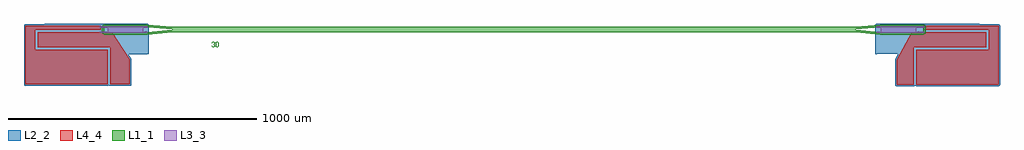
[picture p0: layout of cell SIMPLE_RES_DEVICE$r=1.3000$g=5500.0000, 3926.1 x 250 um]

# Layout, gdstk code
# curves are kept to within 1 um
import gdstk
lib = gdstk.Library(unit=1e-6, precision=1e-10)
def P(c, l, *ps):  # polygons
    for p in ps: c.add(gdstk.Polygon(p, *l))
L1_1 = (1, 1)
L2_2 = (2, 2)
L3_3 = (3, 3)
L4_4 = (4, 4)

simple_res_device_r_1_30 = lib.new_cell('SIMPLE_RES_DEVICE$r=1.3000$g=5500.0000')
P(simple_res_device_r_1_30, L1_1, [(-5830.848,-15.25),(-5837.1919,-12.9801),(-5840.6559,-7.2009),(-5840.6559,16.7009),(-5837.9191,21.8211),(-5832.7989,24.5579),(-5658.048,24.75),(-5557.579,15.35),(-4183.4,15.35),(-4183.4,5.35),(-5558.048,5.35),(-5658.048,14.75),(-5830.848,14.75),(-5830.848,-5.25),(-5658.048,-5.25),(-5558.048,4.15),(-4183.4,4.15),(-4183.4,-5.85),(-5557.579,-5.85),(-5658.048,-15.25)],
  [(-2708.752,-15.25),(-2809.221,-5.85),(-4183.4,-5.85),(-4183.4,4.15),(-2808.752,4.15),(-2708.752,-5.25),(-2535.952,-5.25),(-2535.952,14.75),(-2708.752,14.75),(-2808.752,5.35),(-4183.4,5.35),(-4183.4,15.35),(-2809.221,15.35),(-2708.752,24.75),(-2535.952,24.75),(-2529.6081,22.4801),(-2526.3826,17.6528),(-2525.952,-5.25),(-2528.8809,-12.3211),(-2532.1252,-14.4888)],
  [(-5377.627,-65.526),(-5380.173,-65.17),(-5381.367,-64.618),(-5382.189,-63.886),(-5382.773,-62.846),(-5382.939,-62),(-5382.939,-48.476),(-5382.647,-47.312),(-5382.109,-46.468),(-5381.263,-45.76),(-5380.071,-45.246),(-5377.627,-44.922),(-5377.627,-46.322),(-5379.453,-46.548),(-5380.417,-46.976),(-5381.185,-47.732),(-5381.453,-48.716),(-5381.453,-62.03),(-5380.695,-63.368),(-5379.793,-63.866),(-5377.627,-64.214)],
  [(-5376.695,-65.526),(-5376.695,-64.214),(-5374.939,-64),(-5373.951,-63.6),(-5373.113,-62.794),(-5372.869,-61.8),(-5372.869,-48.534),(-5373.581,-47.196),(-5374.449,-46.698),(-5376.695,-46.322),(-5376.695,-44.922),(-5374.251,-45.246),(-5373.059,-45.76),(-5372.205,-46.468),(-5371.573,-47.536),(-5371.383,-48.716),(-5371.383,-62),(-5371.635,-63.058),(-5372.307,-64.082),(-5373.225,-64.77),(-5375.295,-65.432)],
  [(-5393.238,-65.548),(-5395.696,-65.138),(-5396.716,-64.69),(-5397.65,-63.934),(-5398.226,-62.864),(-5398.4,-60.466),(-5396.836,-60.466),(-5396.574,-62.708),(-5395.808,-63.494),(-5394.654,-63.962),(-5393.356,-64.168),(-5391.04,-64.062),(-5389.934,-63.71),(-5389.01,-63.09),(-5388.338,-62.16),(-5388.338,-57.766),(-5388.566,-56.756),(-5389.182,-55.94),(-5390.06,-55.438),(-5391.278,-55.188),(-5395.554,-55.188),(-5395.554,-53.828),(-5391.57,-53.828),(-5390.55,-53.672),(-5389.562,-53.186),(-5388.82,-52.34),(-5388.526,-51.346),(-5388.654,-48.066),(-5389.23,-47.168),(-5390.148,-46.604),(-5391.198,-46.316),(-5393.334,-46.24),(-5395.65,-46.89),(-5396.416,-47.658),(-5396.692,-48.692),(-5396.692,-49.89),(-5398.258,-49.89),(-5398.258,-48.692),(-5398.108,-47.554),(-5397.586,-46.488),(-5396.7,-45.718),(-5394.344,-44.946),(-5391.926,-44.832),(-5389.484,-45.228),(-5388.496,-45.672),(-5387.61,-46.432),(-5387.104,-47.556),(-5387.072,-52.2),(-5387.476,-53.258),(-5388.218,-54.016),(-5389.206,-54.416),(-5387.348,-55.754),(-5386.906,-56.678),(-5386.78,-61.746),(-5386.954,-62.86),(-5387.53,-63.91),(-5388.464,-64.67),(-5390.842,-65.434)])
P(simple_res_device_r_1_30, L2_2, [(-2643.952,-222.5),(-2647.7584,-221.1381),(-2649.9231,-217.0881),(-2649.952,-116.5),(-2638.8806,-94.5),(-2723.952,-94.5),(-2728.9408,-91.8334),(-2729.952,21.5),(-2726.7804,26.7915),(-2313.952,27.5),(-2309.4894,25.5),(-2233.3639,25.4711),(-2228.6605,22.3284),(-2227.952,-216.5),(-2231.1236,-221.7915),(-2563.952,-222.5),(-2568.952,-219.8148),(-2573.952,-222.5)],
  [(-6148.048,-221.5),(-6152.2906,-219.7426),(-6154.048,-215.5),(-6154.048,19.5),(-6150.8764,24.7915),(-6072.5106,25.5),(-6068.048,27.5),(-5658.048,27.5),(-5652.7565,24.3284),(-5652.048,-88.5),(-5653.0592,-91.8334),(-5658.048,-94.5),(-5734.2998,-94.5),(-5722.0747,-114.9341),(-5722.048,-215.5),(-5725.2196,-220.7915),(-5808.048,-221.5),(-5813.048,-218.8148),(-5818.048,-221.5)])
P(simple_res_device_r_1_30, L3_3, [(-2723.952,-8),(-2723.952,-3),(-2708.197,-3),(-2708.197,11.75),(-2707.752,11.75),(-2707.752,-3),(-2707.752,-3),(-2706.397,-3),(-2706.397,11.75),(-2705.952,11.75),(-2705.952,-3),(-2704.597,-3),(-2704.597,11.75),(-2704.152,11.75),(-2704.152,-3),(-2702.797,-3),(-2702.797,11.75),(-2702.352,11.75),(-2702.352,-3),(-2700.997,-3),(-2700.997,11.75),(-2700.552,11.75),(-2700.552,-3),(-2699.197,-3),(-2699.197,11.75),(-2698.752,11.75),(-2698.752,-3),(-2697.397,-3),(-2697.397,11.75),(-2696.952,11.75),(-2696.952,-3),(-2695.597,-3),(-2695.597,11.75),(-2695.152,11.75),(-2695.152,-3),(-2693.797,-3),(-2693.797,11.75),(-2693.352,11.75),(-2693.352,-3),(-2691.997,-3),(-2691.997,11.75),(-2691.552,11.75),(-2691.552,-3),(-2690.197,-3),(-2690.197,11.75),(-2689.752,11.75),(-2689.752,-3),(-2688.397,-3),(-2688.397,11.75),(-2687.952,11.75),(-2687.952,-3),(-2686.597,-3),(-2686.597,11.75),(-2686.152,11.75),(-2686.152,-3),(-2684.797,-3),(-2684.797,11.75),(-2684.352,11.75),(-2684.352,-3),(-2682.997,-3),(-2682.997,11.75),(-2682.552,11.75),(-2682.552,-3),(-2681.197,-3),(-2681.197,11.75),(-2680.752,11.75),(-2680.752,-3),(-2679.397,-3),(-2679.397,11.75),(-2678.952,11.75),(-2678.952,-3),(-2677.597,-3),(-2677.597,11.75),(-2677.152,11.75),(-2677.152,-3),(-2675.797,-3),(-2675.797,11.75),(-2675.352,11.75),(-2675.352,-3),(-2673.997,-3),(-2673.997,11.75),(-2673.552,11.75),(-2673.552,-3),(-2672.197,-3),(-2672.197,11.75),(-2671.752,11.75),(-2671.752,-3),(-2670.397,-3),(-2670.397,11.75),(-2669.952,11.75),(-2669.952,-3),(-2668.597,-3),(-2668.597,11.75),(-2668.152,11.75),(-2668.152,-3),(-2666.797,-3),(-2666.797,11.75),(-2666.352,11.75),(-2666.352,-3),(-2664.997,-3),(-2664.997,11.75),(-2664.552,11.75),(-2664.552,-3),(-2663.197,-3),(-2663.197,11.75),(-2662.752,11.75),(-2662.752,-3),(-2661.397,-3),(-2661.397,11.75),(-2660.952,11.75),(-2660.952,-3),(-2659.597,-3),(-2659.597,11.75),(-2659.152,11.75),(-2659.152,-3),(-2657.797,-3),(-2657.797,11.75),(-2657.352,11.75),(-2657.352,-3),(-2655.997,-3),(-2655.997,11.75),(-2655.552,11.75),(-2655.552,-3),(-2654.197,-3),(-2654.197,11.75),(-2653.752,11.75),(-2653.752,-3),(-2652.397,-3),(-2652.397,11.75),(-2651.952,11.75),(-2651.952,-3),(-2650.597,-3),(-2650.597,11.75),(-2650.152,11.75),(-2650.152,-3),(-2648.797,-3),(-2648.797,11.75),(-2648.352,11.75),(-2648.352,-3),(-2646.997,-3),(-2646.997,11.75),(-2646.552,11.75),(-2646.552,-3),(-2645.197,-3),(-2645.197,11.75),(-2644.752,11.75),(-2644.752,-3),(-2643.397,-3),(-2643.397,11.75),(-2642.952,11.75),(-2642.952,-3),(-2641.597,-3),(-2641.597,11.75),(-2641.152,11.75),(-2641.152,-3),(-2639.797,-3),(-2639.797,11.75),(-2639.352,11.75),(-2639.352,-3),(-2637.997,-3),(-2637.997,11.75),(-2637.552,11.75),(-2637.552,-3),(-2636.197,-3),(-2636.197,11.75),(-2635.752,11.75),(-2635.752,-3),(-2634.397,-3),(-2634.397,11.75),(-2633.952,11.75),(-2633.952,-3),(-2632.597,-3),(-2632.597,11.75),(-2632.152,11.75),(-2632.152,-3),(-2630.797,-3),(-2630.797,11.75),(-2630.352,11.75),(-2630.352,-3),(-2628.997,-3),(-2628.997,11.75),(-2628.552,11.75),(-2628.552,-3),(-2627.197,-3),(-2627.197,11.75),(-2626.752,11.75),(-2626.752,-3),(-2625.397,-3),(-2625.397,11.75),(-2624.952,11.75),(-2624.952,-3),(-2623.597,-3),(-2623.597,11.75),(-2623.152,11.75),(-2623.152,-3),(-2621.797,-3),(-2621.797,11.75),(-2621.352,11.75),(-2621.352,-3),(-2619.997,-3),(-2619.997,11.75),(-2619.552,11.75),(-2619.552,-3),(-2618.197,-3),(-2618.197,11.75),(-2617.752,11.75),(-2617.752,-3),(-2616.397,-3),(-2616.397,11.75),(-2615.952,11.75),(-2615.952,-3),(-2614.597,-3),(-2614.597,11.75),(-2614.152,11.75),(-2614.152,-3),(-2612.797,-3),(-2612.797,11.75),(-2612.352,11.75),(-2612.352,-3),(-2610.997,-3),(-2610.997,11.75),(-2610.552,11.75),(-2610.552,-3),(-2609.197,-3),(-2609.197,11.75),(-2608.752,11.75),(-2608.752,-3),(-2607.397,-3),(-2607.397,11.75),(-2606.952,11.75),(-2606.952,-3),(-2605.597,-3),(-2605.597,11.75),(-2605.152,11.75),(-2605.152,-3),(-2603.797,-3),(-2603.797,11.75),(-2603.352,11.75),(-2603.352,-3),(-2601.997,-3),(-2601.997,11.75),(-2601.552,11.75),(-2601.552,-3),(-2600.197,-3),(-2600.197,11.75),(-2599.752,11.75),(-2599.752,-3),(-2598.397,-3),(-2598.397,11.75),(-2597.952,11.75),(-2597.952,-3),(-2596.597,-3),(-2596.597,11.75),(-2596.152,11.75),(-2596.152,-3),(-2594.797,-3),(-2594.797,11.75),(-2594.352,11.75),(-2594.352,-3),(-2592.997,-3),(-2592.997,11.75),(-2592.552,11.75),(-2592.552,-3),(-2591.197,-3),(-2591.197,11.75),(-2590.752,11.75),(-2590.752,-3),(-2589.397,-3),(-2589.397,11.75),(-2588.952,11.75),(-2588.952,-3),(-2587.597,-3),(-2587.597,11.75),(-2587.152,11.75),(-2587.152,-3),(-2585.797,-3),(-2585.797,11.75),(-2585.352,11.75),(-2585.352,-3),(-2583.997,-3),(-2583.997,11.75),(-2583.552,11.75),(-2583.552,-3),(-2582.197,-3),(-2582.197,11.75),(-2581.752,11.75),(-2581.752,-3),(-2580.397,-3),(-2580.397,11.75),(-2579.952,11.75),(-2579.952,-3),(-2578.597,-3),(-2578.597,11.75),(-2578.152,11.75),(-2578.152,-3),(-2576.797,-3),(-2576.797,11.75),(-2576.352,11.75),(-2576.352,-3),(-2574.997,-3),(-2574.997,11.75),(-2574.552,11.75),(-2574.552,-3),(-2573.197,-3),(-2573.197,11.75),(-2572.752,11.75),(-2572.752,-3),(-2571.397,-3),(-2571.397,11.75),(-2570.952,11.75),(-2570.952,-3),(-2569.597,-3),(-2569.597,11.75),(-2569.152,11.75),(-2569.152,-3),(-2567.797,-3),(-2567.797,11.75),(-2567.352,11.75),(-2567.352,-3),(-2565.997,-3),(-2565.997,11.75),(-2565.552,11.75),(-2565.552,-3),(-2531.952,-3),(-2531.952,-8)],
  [(-2707.297,-2.25),(-2707.297,12.5),(-2723.952,12.5),(-2723.952,17.5),(-2531.952,17.5),(-2531.952,12.5),(-2564.652,12.5),(-2564.652,-2.25),(-2565.097,-2.25),(-2565.097,12.5),(-2566.452,12.5),(-2566.452,-2.25),(-2566.897,-2.25),(-2566.897,12.5),(-2568.252,12.5),(-2568.252,-2.25),(-2568.697,-2.25),(-2568.697,12.5),(-2570.052,12.5),(-2570.052,-2.25),(-2570.497,-2.25),(-2570.497,12.5),(-2571.852,12.5),(-2571.852,-2.25),(-2572.297,-2.25),(-2572.297,12.5),(-2573.652,12.5),(-2573.652,-2.25),(-2574.097,-2.25),(-2574.097,12.5),(-2575.452,12.5),(-2575.452,-2.25),(-2575.897,-2.25),(-2575.897,12.5),(-2577.252,12.5),(-2577.252,-2.25),(-2577.697,-2.25),(-2577.697,12.5),(-2579.052,12.5),(-2579.052,-2.25),(-2579.497,-2.25),(-2579.497,12.5),(-2580.852,12.5),(-2580.852,-2.25),(-2581.297,-2.25),(-2581.297,12.5),(-2582.652,12.5),(-2582.652,-2.25),(-2583.097,-2.25),(-2583.097,12.5),(-2584.452,12.5),(-2584.452,-2.25),(-2584.897,-2.25),(-2584.897,12.5),(-2586.252,12.5),(-2586.252,-2.25),(-2586.697,-2.25),(-2586.697,12.5),(-2588.052,12.5),(-2588.052,-2.25),(-2588.497,-2.25),(-2588.497,12.5),(-2589.852,12.5),(-2589.852,-2.25),(-2590.297,-2.25),(-2590.297,12.5),(-2591.652,12.5),(-2591.652,-2.25),(-2592.097,-2.25),(-2592.097,12.5),(-2593.452,12.5),(-2593.452,-2.25),(-2593.897,-2.25),(-2593.897,12.5),(-2595.252,12.5),(-2595.252,-2.25),(-2595.697,-2.25),(-2595.697,12.5),(-2597.052,12.5),(-2597.052,-2.25),(-2597.497,-2.25),(-2597.497,12.5),(-2598.852,12.5),(-2598.852,-2.25),(-2599.297,-2.25),(-2599.297,12.5),(-2600.652,12.5),(-2600.652,-2.25),(-2601.097,-2.25),(-2601.097,12.5),(-2602.452,12.5),(-2602.452,-2.25),(-2602.897,-2.25),(-2602.897,12.5),(-2604.252,12.5),(-2604.252,-2.25),(-2604.697,-2.25),(-2604.697,12.5),(-2606.052,12.5),(-2606.052,-2.25),(-2606.497,-2.25),(-2606.497,12.5),(-2607.852,12.5),(-2607.852,-2.25),(-2608.297,-2.25),(-2608.297,12.5),(-2609.652,12.5),(-2609.652,-2.25),(-2610.097,-2.25),(-2610.097,12.5),(-2611.452,12.5),(-2611.452,-2.25),(-2611.897,-2.25),(-2611.897,12.5),(-2613.252,12.5),(-2613.252,-2.25),(-2613.697,-2.25),(-2613.697,12.5),(-2615.052,12.5),(-2615.052,-2.25),(-2615.497,-2.25),(-2615.497,12.5),(-2616.852,12.5),(-2616.852,-2.25),(-2617.297,-2.25),(-2617.297,12.5),(-2618.652,12.5),(-2618.652,-2.25),(-2619.097,-2.25),(-2619.097,12.5),(-2620.452,12.5),(-2620.452,-2.25),(-2620.897,-2.25),(-2620.897,12.5),(-2622.252,12.5),(-2622.252,-2.25),(-2622.697,-2.25),(-2622.697,12.5),(-2624.052,12.5),(-2624.052,-2.25),(-2624.497,-2.25),(-2624.497,12.5),(-2625.852,12.5),(-2625.852,-2.25),(-2626.297,-2.25),(-2626.297,12.5),(-2627.652,12.5),(-2627.652,-2.25),(-2628.097,-2.25),(-2628.097,12.5),(-2629.452,12.5),(-2629.452,-2.25),(-2629.897,-2.25),(-2629.897,12.5),(-2631.252,12.5),(-2631.252,-2.25),(-2631.697,-2.25),(-2631.697,12.5),(-2633.052,12.5),(-2633.052,-2.25),(-2633.497,-2.25),(-2633.497,12.5),(-2634.852,12.5),(-2634.852,-2.25),(-2635.297,-2.25),(-2635.297,12.5),(-2636.652,12.5),(-2636.652,-2.25),(-2637.097,-2.25),(-2637.097,12.5),(-2638.452,12.5),(-2638.452,-2.25),(-2638.897,-2.25),(-2638.897,12.5),(-2640.252,12.5),(-2640.252,-2.25),(-2640.697,-2.25),(-2640.697,12.5),(-2642.052,12.5),(-2642.052,-2.25),(-2642.497,-2.25),(-2642.497,12.5),(-2643.852,12.5),(-2643.852,-2.25),(-2644.297,-2.25),(-2644.297,12.5),(-2645.652,12.5),(-2645.652,-2.25),(-2646.097,-2.25),(-2646.097,12.5),(-2647.452,12.5),(-2647.452,-2.25),(-2647.897,-2.25),(-2647.897,12.5),(-2649.252,12.5),(-2649.252,-2.25),(-2649.697,-2.25),(-2649.697,12.5),(-2651.052,12.5),(-2651.052,-2.25),(-2651.497,-2.25),(-2651.497,12.5),(-2652.852,12.5),(-2652.852,-2.25),(-2653.297,-2.25),(-2653.297,12.5),(-2654.652,12.5),(-2654.652,-2.25),(-2655.097,-2.25),(-2655.097,12.5),(-2656.452,12.5),(-2656.452,-2.25),(-2656.897,-2.25),(-2656.897,12.5),(-2658.252,12.5),(-2658.252,-2.25),(-2658.697,-2.25),(-2658.697,12.5),(-2660.052,12.5),(-2660.052,-2.25),(-2660.497,-2.25),(-2660.497,12.5),(-2661.852,12.5),(-2661.852,-2.25),(-2662.297,-2.25),(-2662.297,12.5),(-2663.652,12.5),(-2663.652,-2.25),(-2664.097,-2.25),(-2664.097,12.5),(-2665.452,12.5),(-2665.452,-2.25),(-2665.897,-2.25),(-2665.897,12.5),(-2667.252,12.5),(-2667.252,-2.25),(-2667.697,-2.25),(-2667.697,12.5),(-2669.052,12.5),(-2669.052,-2.25),(-2669.497,-2.25),(-2669.497,12.5),(-2670.852,12.5),(-2670.852,-2.25),(-2671.297,-2.25),(-2671.297,12.5),(-2672.652,12.5),(-2672.652,-2.25),(-2673.097,-2.25),(-2673.097,12.5),(-2674.452,12.5),(-2674.452,-2.25),(-2674.897,-2.25),(-2674.897,12.5),(-2676.252,12.5),(-2676.252,-2.25),(-2676.697,-2.25),(-2676.697,12.5),(-2678.052,12.5),(-2678.052,-2.25),(-2678.497,-2.25),(-2678.497,12.5),(-2679.852,12.5),(-2679.852,-2.25),(-2680.297,-2.25),(-2680.297,12.5),(-2681.652,12.5),(-2681.652,-2.25),(-2682.097,-2.25),(-2682.097,12.5),(-2683.452,12.5),(-2683.452,-2.25),(-2683.897,-2.25),(-2683.897,12.5),(-2685.252,12.5),(-2685.252,-2.25),(-2685.697,-2.25),(-2685.697,12.5),(-2687.052,12.5),(-2687.052,-2.25),(-2687.497,-2.25),(-2687.497,12.5),(-2688.852,12.5),(-2688.852,-2.25),(-2689.297,-2.25),(-2689.297,12.5),(-2690.652,12.5),(-2690.652,-2.25),(-2691.097,-2.25),(-2691.097,12.5),(-2692.452,12.5),(-2692.452,-2.25),(-2692.897,-2.25),(-2692.897,-2.25),(-2692.897,12.5),(-2694.252,12.5),(-2694.252,-2.25),(-2694.697,-2.25),(-2694.697,12.5),(-2696.052,12.5),(-2696.052,-2.25),(-2696.497,-2.25),(-2696.497,12.5),(-2697.852,12.5),(-2697.852,-2.25),(-2698.297,-2.25),(-2698.297,12.5),(-2699.652,12.5),(-2699.652,-2.25),(-2700.097,-2.25),(-2700.097,12.5),(-2701.452,12.5),(-2701.452,-2.25),(-2701.897,-2.25),(-2701.897,12.5),(-2703.252,12.5),(-2703.252,-2.25),(-2703.697,-2.25),(-2703.697,12.5),(-2705.052,12.5),(-2705.052,-2.25),(-2705.497,-2.25),(-2705.497,12.5),(-2706.852,12.5),(-2706.852,-2.25)],
  [(-5850.048,-8),(-5850.048,-3),(-5816.448,-3),(-5816.448,11.75),(-5816.003,11.75),(-5816.003,-3),(-5814.648,-3),(-5814.648,11.75),(-5814.203,11.75),(-5814.203,-3),(-5812.848,-3),(-5812.848,11.75),(-5812.403,11.75),(-5812.403,-3),(-5811.048,-3),(-5811.048,11.75),(-5810.603,11.75),(-5810.603,-3),(-5809.248,-3),(-5809.248,11.75),(-5808.803,11.75),(-5808.803,-3),(-5807.448,-3),(-5807.448,11.75),(-5807.003,11.75),(-5807.003,-3),(-5805.648,-3),(-5805.648,11.75),(-5805.203,11.75),(-5805.203,-3),(-5803.848,-3),(-5803.848,11.75),(-5803.403,11.75),(-5803.403,-3),(-5802.048,-3),(-5802.048,11.75),(-5801.603,11.75),(-5801.603,-3),(-5800.248,-3),(-5800.248,11.75),(-5799.803,11.75),(-5799.803,-3),(-5798.448,-3),(-5798.448,11.75),(-5798.003,11.75),(-5798.003,-3),(-5796.648,-3),(-5796.648,11.75),(-5796.203,11.75),(-5796.203,-3),(-5794.848,-3),(-5794.848,11.75),(-5794.403,11.75),(-5794.403,11.75),(-5794.403,-3),(-5793.048,-3),(-5793.048,11.75),(-5792.603,11.75),(-5792.603,-3),(-5791.248,-3),(-5791.248,11.75),(-5790.803,11.75),(-5790.803,-3),(-5789.448,-3),(-5789.448,11.75),(-5789.003,11.75),(-5789.003,-3),(-5787.648,-3),(-5787.648,11.75),(-5787.203,11.75),(-5787.203,-3),(-5785.848,-3),(-5785.848,11.75),(-5785.403,11.75),(-5785.403,-3),(-5784.048,-3),(-5784.048,11.75),(-5783.603,11.75),(-5783.603,-3),(-5782.248,-3),(-5782.248,11.75),(-5781.803,11.75),(-5781.803,-3),(-5780.448,-3),(-5780.448,11.75),(-5780.003,11.75),(-5780.003,-3),(-5778.648,-3),(-5778.648,11.75),(-5778.203,11.75),(-5778.203,-3),(-5776.848,-3),(-5776.848,11.75),(-5776.403,11.75),(-5776.403,-3),(-5775.048,-3),(-5775.048,11.75),(-5774.603,11.75),(-5774.603,-3),(-5773.248,-3),(-5773.248,11.75),(-5772.803,11.75),(-5772.803,-3),(-5771.448,-3),(-5771.448,11.75),(-5771.003,11.75),(-5771.003,-3),(-5769.648,-3),(-5769.648,11.75),(-5769.203,11.75),(-5769.203,-3),(-5767.848,-3),(-5767.848,11.75),(-5767.403,11.75),(-5767.403,-3),(-5766.048,-3),(-5766.048,11.75),(-5765.603,11.75),(-5765.603,-3),(-5764.248,-3),(-5764.248,11.75),(-5763.803,11.75),(-5763.803,-3),(-5762.448,-3),(-5762.448,11.75),(-5762.003,11.75),(-5762.003,-3),(-5760.648,-3),(-5760.648,11.75),(-5760.203,11.75),(-5760.203,-3),(-5758.848,-3),(-5758.848,11.75),(-5758.403,11.75),(-5758.403,-3),(-5757.048,-3),(-5757.048,11.75),(-5756.603,11.75),(-5756.603,-3),(-5755.248,-3),(-5755.248,11.75),(-5754.803,11.75),(-5754.803,-3),(-5753.448,-3),(-5753.448,11.75),(-5753.003,11.75),(-5753.003,-3),(-5751.648,-3),(-5751.648,11.75),(-5751.203,11.75),(-5751.203,-3),(-5749.848,-3),(-5749.848,11.75),(-5749.403,11.75),(-5749.403,-3),(-5748.048,-3),(-5748.048,11.75),(-5747.603,11.75),(-5747.603,-3),(-5746.248,-3),(-5746.248,11.75),(-5745.803,11.75),(-5745.803,-3),(-5744.448,-3),(-5744.448,11.75),(-5744.003,11.75),(-5744.003,-3),(-5742.648,-3),(-5742.648,11.75),(-5742.203,11.75),(-5742.203,-3),(-5740.848,-3),(-5740.848,11.75),(-5740.403,11.75),(-5740.403,-3),(-5739.048,-3),(-5739.048,11.75),(-5738.603,11.75),(-5738.603,-3),(-5737.248,-3),(-5737.248,11.75),(-5736.803,11.75),(-5736.803,-3),(-5735.448,-3),(-5735.448,11.75),(-5735.003,11.75),(-5735.003,-3),(-5733.648,-3),(-5733.648,11.75),(-5733.203,11.75),(-5733.203,-3),(-5731.848,-3),(-5731.848,11.75),(-5731.403,11.75),(-5731.403,-3),(-5730.048,-3),(-5730.048,11.75),(-5729.603,11.75),(-5729.603,-3),(-5728.248,-3),(-5728.248,11.75),(-5727.803,11.75),(-5727.803,-3),(-5726.448,-3),(-5726.448,11.75),(-5726.003,11.75),(-5726.003,-3),(-5724.648,-3),(-5724.648,11.75),(-5724.203,11.75),(-5724.203,-3),(-5722.848,-3),(-5722.848,11.75),(-5722.403,11.75),(-5722.403,-3),(-5721.048,-3),(-5721.048,11.75),(-5720.603,11.75),(-5720.603,-3),(-5719.248,-3),(-5719.248,11.75),(-5718.803,11.75),(-5718.803,-3),(-5717.448,-3),(-5717.448,11.75),(-5717.003,11.75),(-5717.003,-3),(-5715.648,-3),(-5715.648,11.75),(-5715.203,11.75),(-5715.203,-3),(-5713.848,-3),(-5713.848,11.75),(-5713.403,11.75),(-5713.403,-3),(-5712.048,-3),(-5712.048,11.75),(-5711.603,11.75),(-5711.603,-3),(-5710.248,-3),(-5710.248,11.75),(-5709.803,11.75),(-5709.803,-3),(-5708.448,-3),(-5708.448,11.75),(-5708.003,11.75),(-5708.003,-3),(-5706.648,-3),(-5706.648,11.75),(-5706.203,11.75),(-5706.203,-3),(-5704.848,-3),(-5704.848,11.75),(-5704.403,11.75),(-5704.403,-3),(-5703.048,-3),(-5703.048,11.75),(-5702.603,11.75),(-5702.603,-3),(-5701.248,-3),(-5701.248,11.75),(-5700.803,11.75),(-5700.803,-3),(-5699.448,-3),(-5699.448,11.75),(-5699.003,11.75),(-5699.003,-3),(-5697.648,-3),(-5697.648,11.75),(-5697.203,11.75),(-5697.203,-3),(-5695.848,-3),(-5695.848,11.75),(-5695.403,11.75),(-5695.403,-3),(-5694.048,-3),(-5694.048,11.75),(-5693.603,11.75),(-5693.603,-3),(-5692.248,-3),(-5692.248,11.75),(-5691.803,11.75),(-5691.803,-3),(-5690.448,-3),(-5690.448,11.75),(-5690.003,11.75),(-5690.003,-3),(-5688.648,-3),(-5688.648,11.75),(-5688.203,11.75),(-5688.203,-3),(-5686.848,-3),(-5686.848,11.75),(-5686.403,11.75),(-5686.403,-3),(-5685.048,-3),(-5685.048,11.75),(-5684.603,11.75),(-5684.603,-3),(-5683.248,-3),(-5683.248,11.75),(-5682.803,11.75),(-5682.803,-3),(-5681.448,-3),(-5681.448,11.75),(-5681.003,11.75),(-5681.003,-3),(-5679.648,-3),(-5679.648,11.75),(-5679.203,11.75),(-5679.203,-3),(-5677.848,-3),(-5677.848,11.75),(-5677.403,11.75),(-5677.403,-3),(-5676.048,-3),(-5676.048,11.75),(-5675.603,11.75),(-5675.603,-3),(-5674.248,-3),(-5674.248,11.75),(-5673.803,11.75),(-5673.803,-3),(-5658.048,-3),(-5658.048,-8)],
  [(-5817.348,-2.25),(-5817.348,12.5),(-5850.048,12.5),(-5850.048,17.5),(-5658.048,17.5),(-5658.048,12.5),(-5674.703,12.5),(-5674.703,-2.25),(-5675.148,-2.25),(-5675.148,12.5),(-5676.503,12.5),(-5676.503,-2.25),(-5676.948,-2.25),(-5676.948,12.5),(-5678.303,12.5),(-5678.303,-2.25),(-5678.748,-2.25),(-5678.748,12.5),(-5680.103,12.5),(-5680.103,-2.25),(-5680.548,-2.25),(-5680.548,12.5),(-5681.903,12.5),(-5681.903,-2.25),(-5682.348,-2.25),(-5682.348,12.5),(-5683.703,12.5),(-5683.703,-2.25),(-5684.148,-2.25),(-5684.148,12.5),(-5685.503,12.5),(-5685.503,-2.25),(-5685.948,-2.25),(-5685.948,12.5),(-5687.303,12.5),(-5687.303,-2.25),(-5687.748,-2.25),(-5687.748,12.5),(-5689.103,12.5),(-5689.103,-2.25),(-5689.548,-2.25),(-5689.548,12.5),(-5690.903,12.5),(-5690.903,-2.25),(-5691.348,-2.25),(-5691.348,12.5),(-5692.703,12.5),(-5692.703,-2.25),(-5693.148,-2.25),(-5693.148,12.5),(-5694.503,12.5),(-5694.503,-2.25),(-5694.948,-2.25),(-5694.948,12.5),(-5696.303,12.5),(-5696.303,-2.25),(-5696.748,-2.25),(-5696.748,12.5),(-5698.103,12.5),(-5698.103,-2.25),(-5698.548,-2.25),(-5698.548,12.5),(-5699.903,12.5),(-5699.903,-2.25),(-5700.348,-2.25),(-5700.348,12.5),(-5701.703,12.5),(-5701.703,-2.25),(-5702.148,-2.25),(-5702.148,12.5),(-5703.503,12.5),(-5703.503,-2.25),(-5703.948,-2.25),(-5703.948,12.5),(-5705.303,12.5),(-5705.303,-2.25),(-5705.748,-2.25),(-5705.748,12.5),(-5707.103,12.5),(-5707.103,-2.25),(-5707.548,-2.25),(-5707.548,12.5),(-5708.903,12.5),(-5708.903,-2.25),(-5709.348,-2.25),(-5709.348,12.5),(-5710.703,12.5),(-5710.703,-2.25),(-5711.148,-2.25),(-5711.148,12.5),(-5712.503,12.5),(-5712.503,-2.25),(-5712.948,-2.25),(-5712.948,12.5),(-5714.303,12.5),(-5714.303,-2.25),(-5714.748,-2.25),(-5714.748,12.5),(-5716.103,12.5),(-5716.103,-2.25),(-5716.548,-2.25),(-5716.548,12.5),(-5717.903,12.5),(-5717.903,-2.25),(-5718.348,-2.25),(-5718.348,12.5),(-5719.703,12.5),(-5719.703,-2.25),(-5720.148,-2.25),(-5720.148,12.5),(-5721.503,12.5),(-5721.503,-2.25),(-5721.948,-2.25),(-5721.948,12.5),(-5723.303,12.5),(-5723.303,-2.25),(-5723.748,-2.25),(-5723.748,12.5),(-5725.103,12.5),(-5725.103,-2.25),(-5725.548,-2.25),(-5725.548,12.5),(-5726.903,12.5),(-5726.903,-2.25),(-5727.348,-2.25),(-5727.348,12.5),(-5728.703,12.5),(-5728.703,-2.25),(-5729.148,-2.25),(-5729.148,12.5),(-5730.503,12.5),(-5730.503,-2.25),(-5730.948,-2.25),(-5730.948,12.5),(-5732.303,12.5),(-5732.303,-2.25),(-5732.748,-2.25),(-5732.748,12.5),(-5734.103,12.5),(-5734.103,-2.25),(-5734.548,-2.25),(-5734.548,12.5),(-5735.903,12.5),(-5735.903,-2.25),(-5736.348,-2.25),(-5736.348,12.5),(-5737.703,12.5),(-5737.703,-2.25),(-5738.148,-2.25),(-5738.148,12.5),(-5739.503,12.5),(-5739.503,-2.25),(-5739.948,-2.25),(-5739.948,12.5),(-5741.303,12.5),(-5741.303,-2.25),(-5741.748,-2.25),(-5741.748,12.5),(-5743.103,12.5),(-5743.103,-2.25),(-5743.548,-2.25),(-5743.548,12.5),(-5744.903,12.5),(-5744.903,-2.25),(-5745.348,-2.25),(-5745.348,12.5),(-5746.703,12.5),(-5746.703,-2.25),(-5747.148,-2.25),(-5747.148,12.5),(-5748.503,12.5),(-5748.503,-2.25),(-5748.948,-2.25),(-5748.948,12.5),(-5750.303,12.5),(-5750.303,-2.25),(-5750.748,-2.25),(-5750.748,12.5),(-5752.103,12.5),(-5752.103,-2.25),(-5752.548,-2.25),(-5752.548,12.5),(-5753.903,12.5),(-5753.903,-2.25),(-5754.348,-2.25),(-5754.348,12.5),(-5755.703,12.5),(-5755.703,-2.25),(-5756.148,-2.25),(-5756.148,12.5),(-5757.503,12.5),(-5757.503,-2.25),(-5757.948,-2.25),(-5757.948,12.5),(-5759.303,12.5),(-5759.303,-2.25),(-5759.748,-2.25),(-5759.748,12.5),(-5761.103,12.5),(-5761.103,-2.25),(-5761.548,-2.25),(-5761.548,12.5),(-5762.903,12.5),(-5762.903,-2.25),(-5763.348,-2.25),(-5763.348,12.5),(-5764.703,12.5),(-5764.703,-2.25),(-5765.148,-2.25),(-5765.148,12.5),(-5766.503,12.5),(-5766.503,-2.25),(-5766.948,-2.25),(-5766.948,12.5),(-5768.303,12.5),(-5768.303,-2.25),(-5768.748,-2.25),(-5768.748,12.5),(-5770.103,12.5),(-5770.103,-2.25),(-5770.548,-2.25),(-5770.548,12.5),(-5771.903,12.5),(-5771.903,-2.25),(-5772.348,-2.25),(-5772.348,12.5),(-5773.703,12.5),(-5773.703,-2.25),(-5774.148,-2.25),(-5774.148,12.5),(-5775.503,12.5),(-5775.503,-2.25),(-5775.948,-2.25),(-5775.948,12.5),(-5777.303,12.5),(-5777.303,-2.25),(-5777.748,-2.25),(-5777.748,12.5),(-5779.103,12.5),(-5779.103,-2.25),(-5779.548,-2.25),(-5779.548,12.5),(-5780.903,12.5),(-5780.903,-2.25),(-5781.348,-2.25),(-5781.348,12.5),(-5782.703,12.5),(-5782.703,-2.25),(-5783.148,-2.25),(-5783.148,12.5),(-5784.503,12.5),(-5784.503,-2.25),(-5784.948,-2.25),(-5784.948,12.5),(-5786.303,12.5),(-5786.303,-2.25),(-5786.748,-2.25),(-5786.748,12.5),(-5788.103,12.5),(-5788.103,-2.25),(-5788.548,-2.25),(-5788.548,12.5),(-5788.548,12.5),(-5789.903,12.5),(-5789.903,-2.25),(-5790.348,-2.25),(-5790.348,12.5),(-5791.703,12.5),(-5791.703,-2.25),(-5792.148,-2.25),(-5792.148,12.5),(-5793.503,12.5),(-5793.503,-2.25),(-5793.948,-2.25),(-5793.948,12.5),(-5795.303,12.5),(-5795.303,-2.25),(-5795.748,-2.25),(-5795.748,12.5),(-5797.103,12.5),(-5797.103,-2.25),(-5797.548,-2.25),(-5797.548,12.5),(-5798.903,12.5),(-5798.903,-2.25),(-5799.348,-2.25),(-5799.348,12.5),(-5800.703,12.5),(-5800.703,-2.25),(-5801.148,-2.25),(-5801.148,12.5),(-5802.503,12.5),(-5802.503,-2.25),(-5802.948,-2.25),(-5802.948,12.5),(-5804.303,12.5),(-5804.303,-2.25),(-5804.748,-2.25),(-5804.748,12.5),(-5806.103,12.5),(-5806.103,-2.25),(-5806.548,-2.25),(-5806.548,12.5),(-5807.903,12.5),(-5807.903,-2.25),(-5808.348,-2.25),(-5808.348,12.5),(-5809.703,12.5),(-5809.703,-2.25),(-5810.148,-2.25),(-5810.148,12.5),(-5811.503,12.5),(-5811.503,-2.25),(-5811.948,-2.25),(-5811.948,12.5),(-5813.303,12.5),(-5813.303,-2.25),(-5813.748,-2.25),(-5813.748,12.5),(-5815.103,12.5),(-5815.103,-2.25),(-5815.548,-2.25),(-5815.548,12.5),(-5816.903,12.5),(-5816.903,-2.25)])
P(simple_res_device_r_1_30, L4_4, [(-2643.952,-216.5),(-2643.952,-116.5),(-2583.952,-5.5),(-2283.952,-5.5),(-2283.952,-5.5),(-2283.952,-65.5),(-2573.952,-65.5),(-2573.952,-216.5)],
  [(-2563.952,-216.5),(-2563.952,-75.5),(-2273.952,-75.5),(-2273.952,4.5),(-2535.952,4.5),(-2535.952,19.5),(-2233.952,19.5),(-2233.952,19.5),(-2233.952,-216.5)],
  [(-5808.048,-215.5),(-5808.048,-65.5),(-6098.048,-65.5),(-6098.048,-5.5),(-5798.048,-5.5),(-5728.048,-115.5),(-5728.048,-115.5),(-5728.048,-215.5)],
  [(-6148.048,-215.5),(-6148.048,19.5),(-5846.048,19.5),(-5846.048,4.5),(-5846.048,4.5),(-6108.048,4.5),(-6108.048,-75.5),(-5818.048,-75.5),(-5818.048,-215.5)])

lib.write_gds('SIMPLE_RES_DEVICE_r_1.3000_g_5500.0000.gds')
